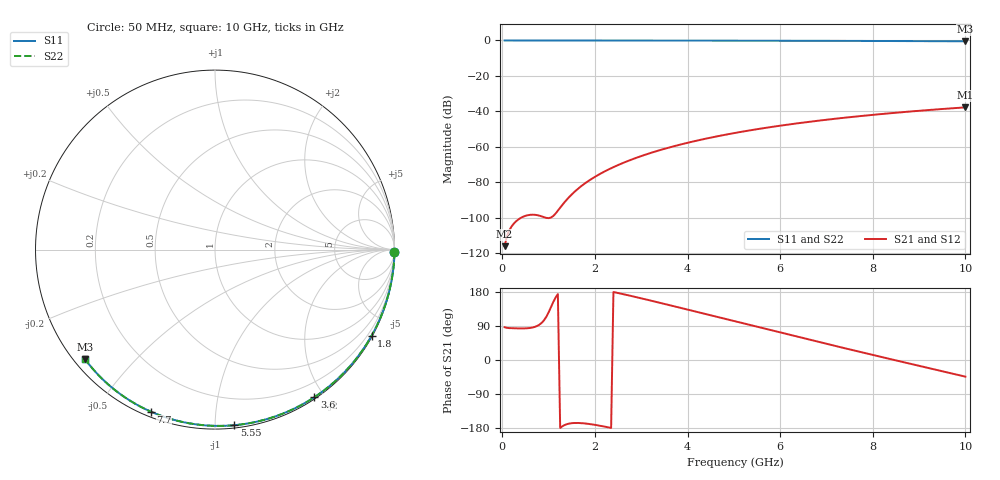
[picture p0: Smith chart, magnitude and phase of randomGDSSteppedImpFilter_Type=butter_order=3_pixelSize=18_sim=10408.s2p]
! freq	dB(S11)	phase(S11)	dB(S12)	phase(S12)
!  dB(S21)	phase(S21)	dB(S22)	phase(S22)
!S-par simulation data
#  GHz  S  DB  R 50
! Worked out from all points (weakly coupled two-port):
!   200 points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, 50 MHz to 10 GHz, reference 50 ohm
!   highest |S21| = -37.73 dB at 10 GHz (marker M1); lowest = -116.0 dB at 50 MHz (marker M2)
!   lowest |S11| = -0.5 dB at 10 GHz (marker M3), VSWR 36.71, Z = 1.54 - j18.2 ohm
!   |S11| at or under -10 dB: nowhere
!   |S22| runs from -0.5 to 0.0 dB; largest |S21 - S12| = 0
!   S11 on the Smith chart (normalised r, x): 50 MHz: open; 1.8 GHz: 0.03, -3.90; 3.6 GHz: 0.02, -1.88; 5.55 GHz: 0.02, -1.12; 7.7 GHz: 0.02, -0.68; 10 GHz: 0.03, -0.36
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0.05  -0.00 -0.8  -116.03 86.5  -116.03 86.5  -0.00 -0.8
0.45  -0.01 -7.3  -99.41 83.3  -99.41 83.3  -0.01 -7.3
0.9  -0.02 -14.5  -99.67 104.7  -99.67 104.7  -0.02 -14.5
1.75  -0.04 -28.0  -81.27 -167.0  -81.27 -167.0  -0.04 -28.0
1.8  -0.04 -28.7  -80.32 -167.7  -80.32 -167.7  -0.04 -28.7
1.85  -0.04 -29.5  -79.42 -168.4  -79.42 -168.4  -0.04 -29.5
2  -0.04 -31.9  -76.93 -171.1  -76.93 -171.1  -0.04 -31.9
2.15  -0.04 -34.2  -74.70 -174.4  -74.70 -174.4  -0.04 -34.2
2.35  -0.05 -37.3  -72.05 -179.3  -72.05 -179.3  -0.05 -37.3
2.55  -0.05 -40.3  -69.70 175.5  -69.70 175.5  -0.05 -40.3
2.95  -0.06 -46.4  -65.66 164.2  -65.66 164.2  -0.06 -46.4
3.4  -0.07 -53.2  -61.88 151.0  -61.88 151.0  -0.07 -53.2
3.6  -0.08 -56.1  -60.40 145.1  -60.40 145.1  -0.08 -56.1
4.3  -0.09 -66.3  -55.92 123.9  -55.92 123.9  -0.09 -66.3
5.05  -0.12 -76.8  -52.04 101.2  -52.04 101.2  -0.12 -76.8
5.55  -0.14 -83.7  -49.84 86.1  -49.84 86.1  -0.14 -83.7
6.1  -0.16 -91.0  -47.70 69.5  -47.70 69.5  -0.16 -91.0
6.7  -0.19 -98.9  -45.65 51.6  -45.65 51.6  -0.19 -98.9
7.7  -0.26 -111.7  -42.73 22.1  -42.73 22.1  -0.26 -111.7
8.35  -0.31 -119.8  -41.11 3.3  -41.11 3.3  -0.31 -119.8
9.2  -0.39 -130.2  -39.25 -21.1  -39.25 -21.1  -0.39 -130.2
10  -0.47 -140.0  -37.73 -43.9  -37.73 -43.9  -0.47 -140.0
